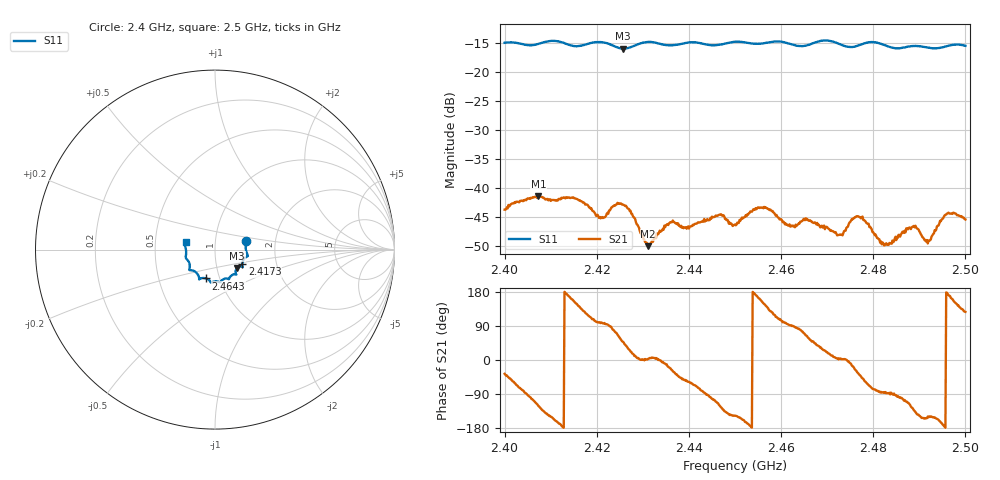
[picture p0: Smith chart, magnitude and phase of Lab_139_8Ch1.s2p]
# Hz S RI R 50
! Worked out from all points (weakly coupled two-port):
!   601 points, 2.4 GHz to 2.5 GHz, reference 50 ohm
!   highest |S21| = -41.41 dB at 2.4073 GHz (marker M1); lowest = -50.0 dB at 2.4312 GHz (marker M2)
!   lowest |S11| = -15.9 dB at 2.4257 GHz (marker M3), VSWR 1.38, Z = 62.5 - j13.1 ohm
!   |S11| at or under -10 dB: start of sweep to end of sweep
!   S12 and S22 are empty: the file has one direction only
!   S11 on the Smith chart (normalised r, x): 2.4 GHz: 1.41, +0.14; 2.4173 GHz: 1.34, -0.22; 2.4643 GHz: 0.86, -0.29; 2.5 GHz: 0.72, +0.06
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2.4e9  0.1731 0.0491  0.00524 -0.00387  0 0  0 0
2.407333e9  0.1754 -0.0142  -0.00441 -0.00727  0 0  0 0
2.416667e9  0.1528 -0.0741  -0.00542 0.00547  0 0  0 0
2.417333e9  0.152 -0.0815  -0.00454 0.00589  0 0  0 0
2.421e9  0.1542 -0.0971  -0.000874 0.00549  0 0  0 0
2.425667e9  0.123 -0.1025  0.0048 0.00537  0 0  0 0
2.431167e9  0.119 -0.1391  0.00315 0.000172  0 0  0 0
2.433333e9  0.1127 -0.1374  0.004 -2.73e-06  0 0  0 0
2.436167e9  0.0927 -0.1436  0.00459 -0.00215  0 0  0 0
2.4465e9  0.0441 -0.1668  -0.00276 -0.00518  0 0  0 0
2.45e9  0.0287 -0.1814  -0.00406 -0.00265  0 0  0 0
2.4555e9  -0.00287 -0.1766  -0.00635 0.00239  0 0  0 0
2.461667e9  -0.0284 -0.1748  -0.000251 0.00474  0 0  0 0
2.464333e9  -0.0496 -0.1607  0.00105 0.00504  0 0  0 0
2.466667e9  -0.0759 -0.1594  0.0034 0.00387  0 0  0 0
2.472833e9  -0.0907 -0.1488  0.00398 0.000182  0 0  0 0
2.477167e9  -0.1283 -0.1154  0.00424 -0.00364  0 0  0 0
2.483333e9  -0.1404 -0.0899  0.000129 -0.00323  0 0  0 0
2.488833e9  -0.1623 -0.0463  -0.0032 -0.00346  0 0  0 0
2.492e9  -0.161 -0.0258  -0.00309 -0.0017  0 0  0 0
2.496e9  -0.167 0.0194  -0.00602 0.000274  0 0  0 0
2.5e9  -0.164 0.0429  -0.00323 0.00428  0 0  0 0
